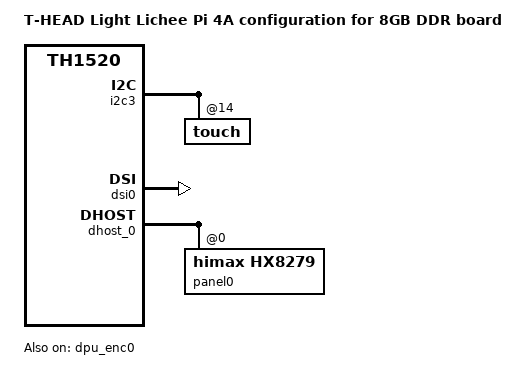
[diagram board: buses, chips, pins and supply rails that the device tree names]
/* SPDX-License-Identifier: GPL-2.0 */
/*
 * Copyright (C) 2022-2023 Alibaba Group Holding Limited.
 */

#include "th1520-lpi4a.dtsi"

/ {
	model = "T-HEAD Light Lichee Pi 4A configuration for 8GB DDR board";
	compatible = "thead,light-val", "thead,light-lpi4a", "thead,light";
};

&i2c3 {
	touch@14 {
		touchscreen-size-x = <1200>;
		touchscreen-size-y = <1920>;
		status = "okay";
    };
};

&dsi0 {
        status = "okay";
};

&dpu_enc0 {
	status = "okay";
};

&dhost_0 {
	panel0@0 {
		compatible = "himax,hx8279";
	};
};
